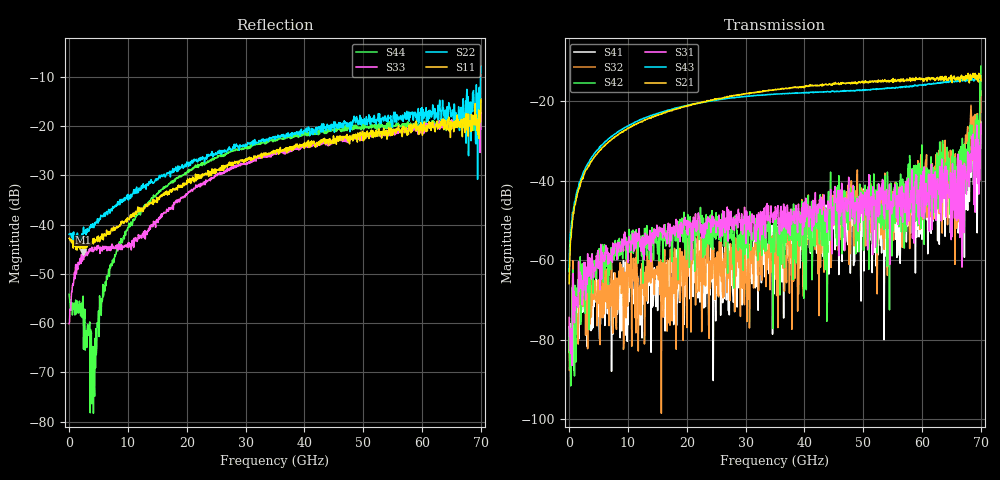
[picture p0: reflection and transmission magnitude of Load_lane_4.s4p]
! 4/13/2026 10:41:12 AM
! C:\ANRITSUVNA\DATA\SARA\2026-04-13 T5 MZDRV\DEEMB STRUCTURES\50OHM_3.S4P
! CHANNEL.1
! TR.MEASUREMENT
! CORRECTED.DATA
! RF.CORRECTION: FULL.FOUR.PORT.CAL.PORT.1.2.3.4
! AVERAGING.OFF
! IF.BANDWIDTH: 1KHZ
! SWEEPTYPE:  FREQ.SWEEP(Linear)
! Reference Plane Port Info
! PORT:  PORT1  PORT2  PORT3  PORT4
! DISTANCE:  0  m  0  m  0  m  0  m
! TIME:  0  s  0  s  0  s  0  s
! PHASE.OFFSET:  0 °  0 °  0 °  0 °
! LOSS:  0  dB  0  dB  0  dB  0  dB
! REF.LOSS:  0  dB  0  dB  0  dB  0  dB
! REF.FREQ:  0  Hz  0  Hz  0  Hz  0  Hz
! Power Info
! POWER:  -20  dBm  -20  dBm  -20  dBm  -20  dBm
! EFF.POWER:  -20  dBm  -20  dBm  -20  dBm  -20  dBm
! SOURCE.ATTEN:  0  dB  0  dB  0  dB  0  dB
! TEST.ATTEN:  0  dB  0  dB  0  dB  0  dB
# HZ S DB R 50.0
! FREQ.HZ  S11DB  S11A  S12DB  S12A  S13DB  S13A  S14DB  S14A
!  S21DB  S21A  S22DB  S22A  S23DB  S23A  S24DB  S24A
!  S31DB  S31A  S32DB  S32A  S33DB  S33A  S34DB  S34A
!  S41DB  S41A  S42DB  S42A  S43DB  S43A  S44DB  S44A
!; PortSelection: Port_1234
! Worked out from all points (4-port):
!   1001 points, 10 MHz to 70 GHz, reference 50 ohm
!   strongest paths, dB at 10 MHz, 17.51 GHz, 35.01 GHz, 52.5 GHz, 70 GHz:
!     S21: -65.9, -22.4, -17.1, -15.2, -14.8
!     S43: -62.8, -21.9, -18.2, -16.9, -13.6
!     S31: -74.4, -51.7, -49.7, -46.9, -25.7
!     S42: -83.2, -60.4, -53.6, -43.4, -11.2
!     S32: -82.5, -75.2, -58.5, -43.6, -17.5
!     S41: -76.7, -59.3, -54.7, -58.7, -25.2
!   lowest |S11| = -45.5 dB at 2.39 GHz (marker M1), VSWR 1.01, Z = 49.5 + j0.141 ohm
!   |S11| at or under -10 dB: start of sweep to end of sweep
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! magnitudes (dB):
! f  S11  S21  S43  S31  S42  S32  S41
! 10 MHz  -42.8  -65.9  -62.8  -74.4  -83.2  -82.5  -76.7
! 2.39 GHz  -45.5  -39.4  -38.1  -66.1  -63.7  -68.4  -71.5
! 4.209 GHz  -43.2  -34.2  -33.3  -64.3  -60.7  -69.8  -71.7
! 18.49 GHz  -32.1  -21.8  -21.6  -53.5  -64.9  -55.4  -69.1
! 54.74 GHz  -20.4  -15.0  -16.7  -45.2  -41.6  -40.7  -53.8
! 65.94 GHz  -17.8  -13.9  -15.1  -39.7  -36.4  -39.9  -37.4
! 70 GHz  -14.6  -14.8  -13.6  -25.7  -11.2  -17.5  -25.2
